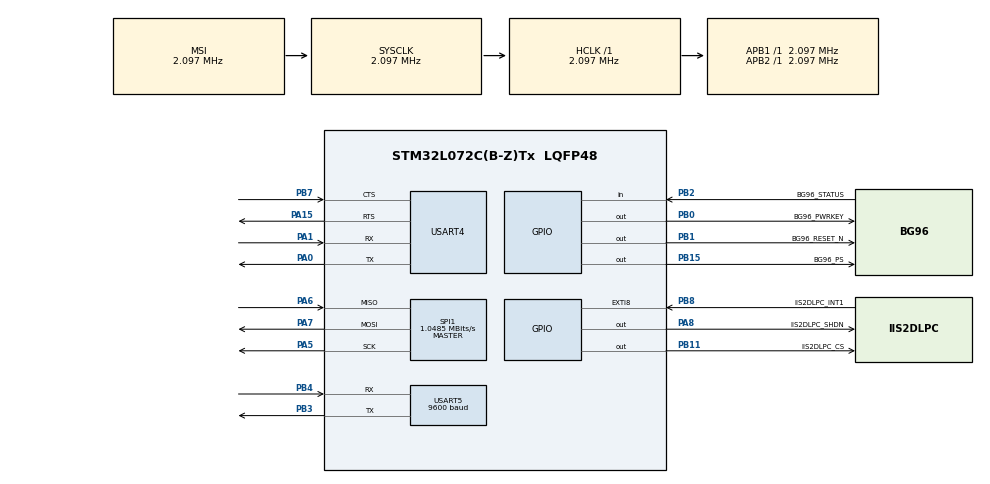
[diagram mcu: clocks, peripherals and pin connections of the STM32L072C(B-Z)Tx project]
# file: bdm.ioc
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Mcu.Family=STM32L0
Mcu.Name=STM32L072C(B-Z)Tx
Mcu.Package=LQFP48
NVIC.EXTI4_15_IRQn=true\:2\:0\:true\:false\:true\:true\:true\:true
PA0.GPIO_PuPd=GPIO_NOPULL
PA0.Mode=Asynchronous
PA0.Signal=USART4_TX
PA1.GPIO_ModeDefaultPP=GPIO_MODE_AF_PP
PA1.GPIO_PuPd=GPIO_PULLUP
PA1.GPIO_Speed=GPIO_SPEED_FREQ_VERY_HIGH
PA1.Mode=Asynchronous
PA1.Signal=USART4_RX
PA13.Mode=Serial_Wire
PA13.Signal=SYS_SWDIO
PA14.Mode=Serial_Wire
PA14.Signal=SYS_SWCLK
PA15.Mode=CTS_RTS
PA15.Signal=USART4_RTS
PA5.Mode=Full_Duplex_Master
PA5.Signal=SPI1_SCK
PA6.Mode=Full_Duplex_Master
PA6.Signal=SPI1_MISO
PA7.Mode=Full_Duplex_Master
PA7.Signal=SPI1_MOSI
PA8.GPIO_Label=IIS2DLPC_SHDN
PA8.Signal=GPIO_Output
PB0.GPIO_Label=BG96_PWRKEY
PB0.GPIO_PuPd=GPIO_NOPULL
PB0.PinState=GPIO_PIN_RESET
PB0.Signal=GPIO_Output
PB1.GPIO_Label=BG96_RESET_N
PB1.Signal=GPIO_Output
PB11.GPIO_Label=IIS2DLPC_CS
PB11.Signal=GPIO_Output
PB15.GPIO_Label=BG96_PS
PB15.Signal=GPIO_Output
PB2.GPIO_Label=BG96_STATUS
PB2.GPIO_PuPd=GPIO_PULLUP
PB2.Signal=GPIO_Input
PB3.Mode=Asynchronous
PB3.Signal=USART5_TX
PB4.GPIO_PuPd=GPIO_NOPULL
PB4.Mode=Asynchronous
PB4.Signal=USART5_RX
PB7.Mode=CTS_RTS
PB7.Signal=USART4_CTS
PB8.GPIO_Label=IIS2DLPC_INT1
PB8.GPIO_ModeDefaultEXTI=GPIO_MODE_IT_RISING
PB8.Signal=GPXTI8
ProjectManager.HeapSize=0x200
ProjectManager.StackSize=0x400
ProjectManager.TargetToolchain=STM32CubeIDE
RCC.AHBFreq_Value=2097000
RCC.APB1Freq_Value=2097000
RCC.APB1TimFreq_Value=2097000
RCC.APB2Freq_Value=2097000
RCC.APB2TimFreq_Value=2097000
RCC.HSE_VALUE=8000000
RCC.HSI16_VALUE=16000000
RCC.HSI48_VALUE=48000000
RCC.HSI_VALUE=16000000
RCC.LSE_VALUE=32768
RCC.MSI_VALUE=2097000
RCC.SYSCLKFreq_VALUE=2097000
RCC.VCOOutputFreq_Value=48000000
SPI1.CalculateBaudRate=1.0485 MBits/s
SPI1.Direction=SPI_DIRECTION_2LINES
SPI1.Mode=SPI_MODE_MASTER
SPI1.VirtualType=VM_MASTER
USART4.VirtualMode-Asynchronous=VM_ASYNC
USART5.BaudRate=9600
USART5.VirtualMode-Asynchronous=VM_ASYNC
board=custom

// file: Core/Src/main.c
/* USER CODE BEGIN Header */
/**
 *  BMD device ICCID: 134973
 *  Wake-up implementation
 *  https://github.com/STMicroelectronics/STMems_Standard_C_drivers/blob/master/iis2dlpc_STdC/examples/iis2dlpc_wake_up.c
 *
  ******************************************************************************
  * @file           : main.c
  * @brief          : Main program body
  ******************************************************************************
  * @attention
  *
  * <h2><center>&copy; Copyright (c) 2021 STMicroelectronics.
  * All rights reserved.</center></h2>
  *
  * This software component is licensed by ST under BSD 3-Clause license,
  * the "License"; You may not use this file except in compliance with the
  * License. You may obtain a copy of the License at:
  *                        opensource.org/licenses/BSD-3-Clause
  *
  ******************************************************************************
  */
/* USER CODE END Header */
#include "main.h"

/* USER CODE BEGIN Includes */
#include <stdio.h>
#include <string.h>
#include "iis2dlpc_reg.h"
/* USER CODE END Includes */

/* USER CODE BEGIN PD */

#define IIS2DLPC_BUS hspi1
#define IIS2DLPC_WAKEUP_THS 4
#define IIS2DLPC_WAKEUP_DUR 2
#define IIS2DLPC_LIR 1

#define BG96_UART1 huart4
#define DBG huart5

/* USER CODE END PD */

SPI_HandleTypeDef hspi1;

UART_HandleTypeDef huart4;
UART_HandleTypeDef huart5;

/* USER CODE BEGIN PV */

/* Private global variables */
HAL_StatusTypeDef hs ;
static uint8_t reg8bit = 0 ;

/* DBG private global variables */
static uint8_t uart_tx_buff[300] ;
static uint8_t uart_rx_buff[3] = { 65 , 66 , 67 } ;

/* IIS2DLPC private global variables */
static uint8_t iis2dlpc_whoami_reg = 0, rst = 0 ;
static int16_t iis2dlpc_temp_reg = 0 ;
static stmdev_ctx_t iis2dlpc_ctx;
static iis2dlpc_reg_t iis2dlpc_int_route;
static iis2dlpc_all_sources_t all_source;

/* BG96 private global variables */

/* temp private global variables */
//static uint8_t ati[] = { 65 , 84 , 73 , 13 , 0 } ;

/* USER CODE END PV */

void SystemClock_Config(void);
static void MX_GPIO_Init(void);
static void MX_SPI1_Init(void);
static void MX_USART5_UART_Init(void);
static void MX_USART4_UART_Init(void);
/* USER CODE BEGIN PFP */

/* DBG function prototypes */
static void		dbg_tx						( uint8_t* tx_buff , uint16_t len ) ;
static void		uart_rx_buff_print			( void ) ;

/* IIS2DLPC function prototypes */
static int32_t	platform_write				( void *handle , uint8_t reg , const uint8_t *bufp , uint16_t len ) ;
static int32_t	platform_read				( void *handle , uint8_t reg , uint8_t *bufp , uint16_t len ) ;
static uint8_t	iis2dlpc_int1_print			( void ) ;
static void		iis2dlpc_temp_print			( void ) ;
static void		iis2dlpc_conf_set			( void ) ;
static void		iis2dlpc_conf_print			( void ) ;

/* BG96 function prototypes */
static void		bg96_uart1_tx				( uint8_t* tx_buff , uint16_t len ) ;
static void		bg96_uart1_tx_ati			( void ) ;
static uint8_t	bg96_status_print			( void ) ;
static uint8_t	bg96_ps_on					( void ) ;

/* USER CODE END PFP */

int main(void)
{

  /* MCU Configuration--------------------------------------------------------*/

  /* Reset of all peripherals, Initializes the Flash interface and the Systick. */
  HAL_Init();

  /* Configure the system clock */
  SystemClock_Config();

  /* Initialize all configured peripherals */
  MX_GPIO_Init();
  MX_SPI1_Init();
  MX_USART5_UART_Init();
  MX_USART4_UART_Init();
  /* USER CODE BEGIN 2 */

	/* IIS2DLPC configuration */
	iis2dlpc_ctx.write_reg = platform_write ;
	iis2dlpc_ctx.read_reg = platform_read ;
	iis2dlpc_ctx.handle = &IIS2DLPC_BUS ;
	iis2dlpc_conf_set () ;
	iis2dlpc_int_notification_set ( &iis2dlpc_ctx , IIS2DLPC_LIR ) ;
	iis2dlpc_conf_print () ;

	/* BG96 configuration */
	bg96_ps_on () ;
	bg96_uart1_tx_ati () ;

  /* USER CODE END 2 */

  /* Infinite loop */
  /* USER CODE BEGIN WHILE */
	while (1)
	{
		HAL_UART_Receive ( &BG96_UART1 , uart_rx_buff , strlen ( uart_rx_buff ) , 1000 ) ;
    /* USER CODE END WHILE */

	}
}

void SystemClock_Config(void)
{
  RCC_OscInitTypeDef RCC_OscInitStruct = {0};
  RCC_ClkInitTypeDef RCC_ClkInitStruct = {0};

  /** Configure the main internal regulator output voltage
  */
  __HAL_PWR_VOLTAGESCALING_CONFIG(PWR_REGULATOR_VOLTAGE_SCALE1);

  /** Initializes the RCC Oscillators according to the specified parameters
  * in the RCC_OscInitTypeDef structure.
  */
  RCC_OscInitStruct.OscillatorType = RCC_OSCILLATORTYPE_MSI;
  RCC_OscInitStruct.MSIState = RCC_MSI_ON;
  RCC_OscInitStruct.MSICalibrationValue = 0;
  RCC_OscInitStruct.MSIClockRange = RCC_MSIRANGE_5;
  RCC_OscInitStruct.PLL.PLLState = RCC_PLL_NONE;
  if (HAL_RCC_OscConfig(&RCC_OscInitStruct) != HAL_OK)
  {
    Error_Handler();
  }

  /** Initializes the CPU, AHB and APB buses clocks
  */
  RCC_ClkInitStruct.ClockType = RCC_CLOCKTYPE_HCLK|RCC_CLOCKTYPE_SYSCLK
                              |RCC_CLOCKTYPE_PCLK1|RCC_CLOCKTYPE_PCLK2;
  RCC_ClkInitStruct.SYSCLKSource = RCC_SYSCLKSOURCE_MSI;
  RCC_ClkInitStruct.AHBCLKDivider = RCC_SYSCLK_DIV1;
  RCC_ClkInitStruct.APB1CLKDivider = RCC_HCLK_DIV1;
  RCC_ClkInitStruct.APB2CLKDivider = RCC_HCLK_DIV1;

  if (HAL_RCC_ClockConfig(&RCC_ClkInitStruct, FLASH_LATENCY_0) != HAL_OK)
  {
    Error_Handler();
  }
}

static void MX_SPI1_Init(void)
{

  /* SPI1 parameter configuration*/
  hspi1.Instance = SPI1;
  hspi1.Init.Mode = SPI_MODE_MASTER;
  hspi1.Init.Direction = SPI_DIRECTION_2LINES;
  hspi1.Init.DataSize = SPI_DATASIZE_8BIT;
  hspi1.Init.CLKPolarity = SPI_POLARITY_LOW;
  hspi1.Init.CLKPhase = SPI_PHASE_1EDGE;
  hspi1.Init.NSS = SPI_NSS_SOFT;
  hspi1.Init.BaudRatePrescaler = SPI_BAUDRATEPRESCALER_2;
  hspi1.Init.FirstBit = SPI_FIRSTBIT_MSB;
  hspi1.Init.TIMode = SPI_TIMODE_DISABLE;
  hspi1.Init.CRCCalculation = SPI_CRCCALCULATION_DISABLE;
  hspi1.Init.CRCPolynomial = 7;
  if (HAL_SPI_Init(&hspi1) != HAL_OK)
  {
    Error_Handler();
  }

}

static void MX_USART4_UART_Init(void)
{

  huart4.Instance = USART4;
  huart4.Init.BaudRate = 115200;
  huart4.Init.WordLength = UART_WORDLENGTH_8B;
  huart4.Init.StopBits = UART_STOPBITS_1;
  huart4.Init.Parity = UART_PARITY_NONE;
  huart4.Init.Mode = UART_MODE_TX_RX;
  huart4.Init.HwFlowCtl = UART_HWCONTROL_RTS_CTS;
  huart4.Init.OverSampling = UART_OVERSAMPLING_16;
  huart4.Init.OneBitSampling = UART_ONE_BIT_SAMPLE_DISABLE;
  huart4.AdvancedInit.AdvFeatureInit = UART_ADVFEATURE_NO_INIT;
  if (HAL_UART_Init(&huart4) != HAL_OK)
  {
    Error_Handler();
  }

}

static void MX_USART5_UART_Init(void)
{

  huart5.Instance = USART5;
  huart5.Init.BaudRate = 9600;
  huart5.Init.WordLength = UART_WORDLENGTH_8B;
  huart5.Init.StopBits = UART_STOPBITS_1;
  huart5.Init.Parity = UART_PARITY_NONE;
  huart5.Init.Mode = UART_MODE_TX_RX;
  huart5.Init.HwFlowCtl = UART_HWCONTROL_NONE;
  huart5.Init.OverSampling = UART_OVERSAMPLING_16;
  huart5.Init.OneBitSampling = UART_ONE_BIT_SAMPLE_DISABLE;
  huart5.AdvancedInit.AdvFeatureInit = UART_ADVFEATURE_NO_INIT;
  if (HAL_UART_Init(&huart5) != HAL_OK)
  {
    Error_Handler();
  }

}

static void MX_GPIO_Init(void)
{
  GPIO_InitTypeDef GPIO_InitStruct = {0};

  /* GPIO Ports Clock Enable */
  __HAL_RCC_GPIOA_CLK_ENABLE();
  __HAL_RCC_GPIOB_CLK_ENABLE();

  /*Configure GPIO pin Output Level */
  HAL_GPIO_WritePin(GPIOB, BG96_PWRKEY_Pin|BG96_RESET_N_Pin|IIS2DLPC_CS_Pin|BG96_PS_Pin, GPIO_PIN_RESET);

  /*Configure GPIO pin Output Level */
  HAL_GPIO_WritePin(IIS2DLPC_SHDN_GPIO_Port, IIS2DLPC_SHDN_Pin, GPIO_PIN_RESET);

  /*Configure GPIO pins : BG96_PWRKEY_Pin BG96_RESET_N_Pin IIS2DLPC_CS_Pin BG96_PS_Pin */
  GPIO_InitStruct.Pin = BG96_PWRKEY_Pin|BG96_RESET_N_Pin|IIS2DLPC_CS_Pin|BG96_PS_Pin;
  GPIO_InitStruct.Mode = GPIO_MODE_OUTPUT_PP;
  GPIO_InitStruct.Pull = GPIO_NOPULL;
  GPIO_InitStruct.Speed = GPIO_SPEED_FREQ_LOW;
  HAL_GPIO_Init(GPIOB, &GPIO_InitStruct);

  /*Configure GPIO pin : BG96_STATUS_Pin */
  GPIO_InitStruct.Pin = BG96_STATUS_Pin;
  GPIO_InitStruct.Mode = GPIO_MODE_INPUT;
  GPIO_InitStruct.Pull = GPIO_PULLUP;
  HAL_GPIO_Init(BG96_STATUS_GPIO_Port, &GPIO_InitStruct);

  /*Configure GPIO pin : IIS2DLPC_SHDN_Pin */
  GPIO_InitStruct.Pin = IIS2DLPC_SHDN_Pin;
  GPIO_InitStruct.Mode = GPIO_MODE_OUTPUT_PP;
  GPIO_InitStruct.Pull = GPIO_NOPULL;
  GPIO_InitStruct.Speed = GPIO_SPEED_FREQ_LOW;
  HAL_GPIO_Init(IIS2DLPC_SHDN_GPIO_Port, &GPIO_InitStruct);

  /*Configure GPIO pin : IIS2DLPC_INT1_Pin */
  GPIO_InitStruct.Pin = IIS2DLPC_INT1_Pin;
  GPIO_InitStruct.Mode = GPIO_MODE_IT_RISING;
  GPIO_InitStruct.Pull = GPIO_NOPULL;
  HAL_GPIO_Init(IIS2DLPC_INT1_GPIO_Port, &GPIO_InitStruct);

  /* EXTI interrupt init*/
  HAL_NVIC_SetPriority(EXTI4_15_IRQn, 2, 0);
  HAL_NVIC_EnableIRQ(EXTI4_15_IRQn);

}

/* USER CODE BEGIN 4 */

/* Global function */

/* IIS2DLPC function */
/*
 * @brief  Write generic device register (platform dependent)
 *
 * @param  handle    customizable argument. In this examples is used in
 *                   order to select the correct sensor bus handler.
 * @param  reg       register to write
 * @param  bufp      pointer to data to write in register reg
 * @param  len       number of consecutive register to write
 *
 */
static int32_t platform_write ( void *handle , uint8_t reg , const uint8_t *bufp , uint16_t len )
{
	HAL_GPIO_WritePin	( IIS2DLPC_CS_GPIO_Port , IIS2DLPC_CS_Pin , GPIO_PIN_RESET ) ;
	HAL_Delay ( 20 ) ;
	HAL_SPI_Transmit	( handle , &reg , 1 , 1000 ) ;
	HAL_SPI_Transmit	( handle , (uint8_t*) bufp , len , 1000 ) ;
	HAL_GPIO_WritePin	( IIS2DLPC_CS_GPIO_Port , IIS2DLPC_CS_Pin , GPIO_PIN_SET) ;

	return 0;
}

/*
 * @brief  Read generic device register (platform dependent)
 *
 * @param  handle    customizable argument. In this examples is used in
 *                   order to select the correct sensor bus handler.
 * @param  reg       register to read
 * @param  bufp      pointer to buffer that store the data read
 * @param  len       number of consecutive register to read
 *
 */
static int32_t platform_read ( void *handle , uint8_t reg , uint8_t *bufp , uint16_t len )
{
	reg |= 0x80;
	HAL_GPIO_WritePin ( IIS2DLPC_CS_GPIO_Port , IIS2DLPC_CS_Pin , GPIO_PIN_RESET) ;
	HAL_Delay ( 20 ) ;
	HAL_SPI_Transmit ( handle , &reg , 1 , 1000 ) ;
	HAL_SPI_Receive ( handle , bufp , len , 1000 ) ;
	HAL_GPIO_WritePin ( IIS2DLPC_CS_GPIO_Port , IIS2DLPC_CS_Pin , GPIO_PIN_SET) ;

	return 0;
}

static uint8_t iis2dlpc_int1_print ( void )
{
	uint8_t r = (uint8_t)HAL_GPIO_ReadPin ( IIS2DLPC_INT1_GPIO_Port , IIS2DLPC_INT1_Pin ) ;
	sprintf ( (char *)uart_tx_buff , "IIS2DLPC_INT1_Pin: %d\r\n" , r ) ;
	dbg_tx ( uart_tx_buff , strlen ( (char const*)uart_tx_buff ) ) ;
	return r ;
}

/* get and print to dbg IIS2DLPC raw temp */
static void iis2dlpc_temp_print ( void )
{
	iis2dlpc_temperature_raw_get ( &iis2dlpc_ctx , &iis2dlpc_temp_reg ) ;

	int8_t temp_integer = iis2dlpc_temp_reg >> 8 ;
	uint8_t temp_fraction = (uint8_t)iis2dlpc_temp_reg ;

	sprintf ( (char *)uart_tx_buff , "IIS2DLPC temp is %d.%d\r\n" , 25 + temp_integer , temp_fraction * 10 / 255 ) ;
	dbg_tx ( uart_tx_buff , strlen ( (char const*)uart_tx_buff ) ) ;
}

static void	iis2dlpc_conf_set ( void )
{
	iis2dlpc_device_id_get ( &iis2dlpc_ctx , &iis2dlpc_whoami_reg ) ;
	if ( iis2dlpc_whoami_reg == IIS2DLPC_ID )
	{
		sprintf ( (char*)uart_tx_buff , "Hello! My name is %d\n", iis2dlpc_whoami_reg ) ;
		dbg_tx ( uart_tx_buff, strlen ( (char const*)uart_tx_buff) ) ;
	}
	else
	{
		/* manage here device not found */
	}
	/*Restore default configuration */
	iis2dlpc_reset_set ( &iis2dlpc_ctx , PROPERTY_ENABLE ) ;
	do {
		iis2dlpc_reset_get ( &iis2dlpc_ctx, &rst ) ;
	} while ( rst ) ;
	/*Set full scale */
	iis2dlpc_full_scale_set ( &iis2dlpc_ctx , IIS2DLPC_2g ) ;
	/*Configure power mode */
	iis2dlpc_power_mode_set ( &iis2dlpc_ctx , IIS2DLPC_CONT_LOW_PWR_LOW_NOISE_12bit ) ;
	/*Set Output Data Rate */
	iis2dlpc_data_rate_set ( &iis2dlpc_ctx , IIS2DLPC_XL_ODR_200Hz );
	/*Apply high-pass digital filter on Wake-Up function */
	iis2dlpc_filter_path_set ( &iis2dlpc_ctx , IIS2DLPC_HIGH_PASS_ON_OUT ) ;
	/*Apply high-pass digital filter on Wake-Up function
	 * Duration time is set to zero so Wake-Up interrupt signal
	 * is generated for each X,Y,Z filtered data exceeding the
	 * configured threshold
	*/
	// default iis2dlpc_wkup_dur_set(&dev_ctx, 0);
	// range is 0-3
	iis2dlpc_wkup_dur_set ( &iis2dlpc_ctx , IIS2DLPC_WAKEUP_DUR ) ;

	/* Set wake-up threshold
	 * Set Wake-Up threshold: 1 LSb corresponds to FS_XL/2^6
	 */
	// default iis2dlpc_wkup_threshold_set ( &iis2dlpc_ctx , 2 ) ;
	// range is 0-63
	iis2dlpc_wkup_threshold_set ( &iis2dlpc_ctx , IIS2DLPC_WAKEUP_THS ) ;
	/*Enable interrupt generation on Wake-Up INT1 pin */
	iis2dlpc_pin_int1_route_get ( &iis2dlpc_ctx , &iis2dlpc_int_route.ctrl4_int1_pad_ctrl ) ;
	iis2dlpc_int_route.ctrl4_int1_pad_ctrl.int1_wu = PROPERTY_ENABLE ;
	iis2dlpc_pin_int1_route_set ( &iis2dlpc_ctx , &iis2dlpc_int_route.ctrl4_int1_pad_ctrl ) ;
}

static void	iis2dlpc_conf_print	( void )
{
	iis2dlpc_wkup_threshold_get ( &iis2dlpc_ctx , &reg8bit ) ;
	sprintf ( (char *)uart_tx_buff , "WAKE_UP_THS: %d\r\n" , reg8bit ) ;
	dbg_tx ( uart_tx_buff , strlen ( (char const*)uart_tx_buff ) ) ;

	iis2dlpc_read_reg ( &iis2dlpc_ctx , IIS2DLPC_CTRL1 , &reg8bit , 1 ) ;
	sprintf ( (char *)uart_tx_buff , "CTRL1: %d\r\n" , reg8bit ) ;
	dbg_tx ( uart_tx_buff , strlen ( (char const*)uart_tx_buff ) ) ;

	iis2dlpc_read_reg ( &iis2dlpc_ctx , IIS2DLPC_CTRL3 , &reg8bit , 1 ) ;
	sprintf ( (char *)uart_tx_buff , "CTRL3: %d\r\n" , reg8bit ) ;
	dbg_tx ( uart_tx_buff , strlen ( (char const*)uart_tx_buff ) ) ;

	iis2dlpc_read_reg ( &iis2dlpc_ctx , IIS2DLPC_CTRL4_INT1_PAD_CTRL , &reg8bit , 1 ) ;
	sprintf ( (char *)uart_tx_buff , "CTRL4: %d\r\n" , reg8bit ) ;
	dbg_tx ( uart_tx_buff , strlen ( (char const*)uart_tx_buff ) ) ;

	iis2dlpc_read_reg ( &iis2dlpc_ctx , IIS2DLPC_CTRL5_INT2_PAD_CTRL , &reg8bit , 1 ) ;
	sprintf ( (char *)uart_tx_buff , "CTRL5: %d\r\n" , reg8bit ) ;
	dbg_tx ( uart_tx_buff , strlen ( (char const*)uart_tx_buff ) ) ;

	iis2dlpc_read_reg ( &iis2dlpc_ctx , IIS2DLPC_CTRL6 , &reg8bit , 1 ) ;
	sprintf ( (char *)uart_tx_buff , "CTRL6: %d\r\n" , reg8bit ) ;
	dbg_tx ( uart_tx_buff , strlen ( (char const*)uart_tx_buff ) ) ;

	iis2dlpc_read_reg ( &iis2dlpc_ctx , IIS2DLPC_STATUS , &reg8bit , 1 ) ;
	sprintf ( (char *)uart_tx_buff , "STATUS: %d\r\n" , reg8bit ) ;
	dbg_tx ( uart_tx_buff , strlen ( (char const*)uart_tx_buff ) ) ;

	iis2dlpc_read_reg ( &iis2dlpc_ctx , IIS2DLPC_WAKE_UP_SRC , &reg8bit , 1 ) ;
	sprintf ( (char *)uart_tx_buff , "WAKE_UP_SRC: %d\r\n" , reg8bit ) ;
	dbg_tx ( uart_tx_buff , strlen ( (char const*)uart_tx_buff ) ) ;
}

/* CBG function */
/*
 * @brief  Write generic device register (platform dependent)
 *
 * @param  tx_buffer     buffer to transmit
 * @param  len           number of byte to send
 *
 */

/* DBG functions */
static void dbg_tx ( uint8_t* tx_buff , uint16_t len )
{
	HAL_UART_Transmit ( &DBG , tx_buff , len , 1000 ) ;
}

/* Przetestowałem ale nie widzę uzasadnienia do wprowadzania
 * Tak by wyglądały przykłąd dwóch wierszy wywołujących funkcję
 * const char* message = "INT1 detected!\n" ;
 * dbg_print ( message ) ;
static void dbg_print ( const char* message )
{
	sprintf ( (char*)uart_tx_buff , message ) ;
	dbg_tx ( uart_tx_buff , strlen ( (char const*)uart_tx_buff ) ) ;
}
*/
static void uart_rx_buff_print ( void )
{
	sprintf ( (char *)uart_tx_buff , "UART Rx: %s\r\n" , (const char*)uart_rx_buff ) ;
	dbg_tx ( uart_tx_buff , (uint16_t)strlen ( (const char*)uart_tx_buff ) ) ;
}

/* BG96 function */
static uint8_t bg96_status_print ( void )
{
	uint8_t r = (uint8_t)HAL_GPIO_ReadPin ( BG96_STATUS_GPIO_Port , BG96_STATUS_Pin ) ;
	sprintf ( (char *)uart_tx_buff , "BG96_STATUS_Pin: %d\r\n" , r ) ;
	dbg_tx ( uart_tx_buff , strlen ( (char const*)uart_tx_buff ) ) ;
	return r ;
}
static uint8_t bg96_ps_on ( void )
{
	bg96_status_print () ;
	HAL_GPIO_WritePin ( BG96_PS_GPIO_Port , BG96_PS_Pin , GPIO_PIN_SET ) ;
	HAL_GPIO_WritePin ( BG96_RESET_N_GPIO_Port , BG96_RESET_N_Pin , GPIO_PIN_SET ) ;
	HAL_GPIO_WritePin ( BG96_PWRKEY_GPIO_Port , BG96_PWRKEY_Pin , GPIO_PIN_SET ) ;
	HAL_Delay ( 35 ) ;
	HAL_GPIO_WritePin ( BG96_PWRKEY_GPIO_Port , BG96_PWRKEY_Pin , GPIO_PIN_RESET ) ;
	HAL_Delay ( 550 ) ;
	HAL_GPIO_WritePin ( BG96_PWRKEY_GPIO_Port , BG96_PWRKEY_Pin , GPIO_PIN_SET ) ;
	HAL_Delay ( 4500 ) ;
	return bg96_status_print () ;

}
static void bg96_uart1_tx ( uint8_t* tx_buff , uint16_t len )
//docelowo połączyć z dbg_tx
{
	HAL_UART_Transmit ( &BG96_UART1 , tx_buff , len , 1000 ) ;
}
static void bg96_uart1_tx_ati ( void )
{
	sprintf ( (char *)uart_tx_buff , "ATI\r" ) ;
	bg96_uart1_tx ( uart_tx_buff , strlen ( (const char *)uart_tx_buff ) ) ;
}

/* Callback functions */
void HAL_GPIO_EXTI_Callback ( uint16_t GPIO_Pin )
{
	sprintf ( (char*)uart_tx_buff , "INT on GPIO_Pin %d detected!\n" , GPIO_Pin ) ;
	dbg_tx ( uart_tx_buff, strlen ( (char const*)uart_tx_buff) ) ;

	iis2dlpc_all_sources_get ( &iis2dlpc_ctx , &all_source ) ;

	sprintf ( (char*)uart_tx_buff , "Wake up SRC[FF_IA,SS_IA,WU_IA,X_WU,Y_WU,Z_WU]: %d%d%d%d%d%d\n" , all_source.wake_up_src.ff_ia , all_source.wake_up_src.sleep_state_ia , all_source.wake_up_src.wu_ia , all_source.wake_up_src.x_wu , all_source.wake_up_src.y_wu , all_source.wake_up_src.z_wu ) ;
	dbg_tx ( uart_tx_buff, strlen ( (char const*)uart_tx_buff) ) ;

	sprintf ( (char*)uart_tx_buff , "6D[XL,HX,YL,YH,ZL,ZH]: %d%d%d%d%d%d\n" , all_source.sixd_src.xl , all_source.sixd_src.xh , all_source.sixd_src.yl , all_source.sixd_src.yh , all_source.sixd_src.zl , all_source.sixd_src.zh ) ;
	dbg_tx ( uart_tx_buff, strlen ( (char const*)uart_tx_buff) ) ;

	iis2dlpc_temp_print();
	iis2dlpc_int1_print();
	bg96_status_print () ;
	bg96_uart1_tx_ati () ;
	uart_rx_buff_print () ;
}

/* USER CODE END 4 */

void Error_Handler(void)
{
  __disable_irq();
  while (1)
  {
  }
}
